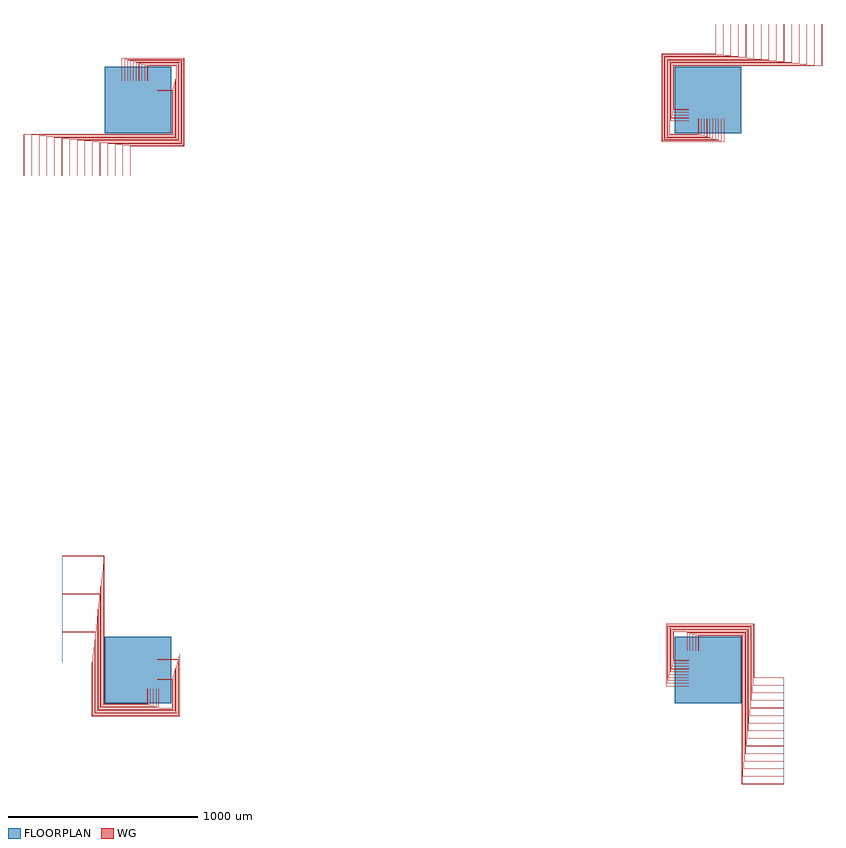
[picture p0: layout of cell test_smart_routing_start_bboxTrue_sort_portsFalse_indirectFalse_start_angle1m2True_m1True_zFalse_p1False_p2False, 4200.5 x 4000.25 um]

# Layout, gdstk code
import gdstk
lib = gdstk.Library(unit=1e-6, precision=1e-09)
def R(c, l, rs):  # rectangles x0, y0, x1, y1
    for r in rs: c.add(gdstk.rectangle(r[:2], r[2:], *l))
def P(c, l, *ps):  # polygons
    for p in ps: c.add(gdstk.Polygon(p, *l))
WG = (1, 0)
FLOORPLAN = (10, 0)

test_smart_routing_start = lib.new_cell('test_smart_routing_start_bboxTrue_sort_portsFalse_indirectFalse_start_angle1m2True_m1True_zFalse_p1False_p2False')
P(test_smart_routing_start, WG, [(-179.5,-179.5),(-179.5,599.75),(-400,599.75),(-400,600.25),(-179,600.25),(-179,-179),(49.75,-179),(49.75,-100),(50.25,-100),(50.25,-179.5)],
  [(-184,-184),(-184,559.75),(-400,559.75),(-400,560.25),(-183.5,560.25),(-183.5,-183.5),(64.75,-183.5),(64.75,-100),(65.25,-100),(65.25,-184)],
  [(-188.5,-188.5),(-188.5,519.75),(-400,519.75),(-400,520.25),(-188,520.25),(-188,-188),(79.75,-188),(79.75,-100),(80.25,-100),(80.25,-188.5)],
  [(-193,-193),(-193,479.75),(-400,479.75),(-400,480.25),(-192.5,480.25),(-192.5,-192.5),(94.75,-192.5),(94.75,-100),(95.25,-100),(95.25,-193)],
  [(-197.5,-197.5),(-197.5,439.75),(-400,439.75),(-400,440.25),(-197,440.25),(-197,-197),(109.75,-197),(109.75,-100),(110.25,-100),(110.25,-197.5)],
  [(-202,-202),(-202,399.75),(-400,399.75),(-400,400.25),(-201.5,400.25),(-201.5,-201.5),(179,-201.5),(179,-50.25),(100,-50.25),(100,-49.75),(179.5,-49.75),(179.5,-202)],
  [(-206.5,-206.5),(-206.5,359.75),(-400,359.75),(-400,360.25),(-206,360.25),(-206,-206),(183.5,-206),(183.5,-35.25),(100,-35.25),(100,-34.75),(184,-34.75),(184,-206.5)],
  [(-211,-211),(-211,319.75),(-400,319.75),(-400,320.25),(-210.5,320.25),(-210.5,-210.5),(188,-210.5),(188,-20.25),(100,-20.25),(100,-19.75),(188.5,-19.75),(188.5,-211)],
  [(-215.5,-215.5),(-215.5,279.75),(-400,279.75),(-400,280.25),(-215,280.25),(-215,-215),(192.5,-215),(192.5,-5.25),(100,-5.25),(100,-4.75),(193,-4.75),(193,-215.5)],
  [(-220,-220),(-220,239.75),(-400,239.75),(-400,240.25),(-219.5,240.25),(-219.5,-219.5),(197,-219.5),(197,9.75),(100,9.75),(100,10.25),(197.5,10.25),(197.5,-220)],
  [(-224.5,-224.5),(-224.5,199.75),(-400,199.75),(-400,200.25),(-224,200.25),(-224,-224),(201.5,-224),(201.5,24.75),(100,24.75),(100,25.25),(202,25.25),(202,-224.5)],
  [(-229,-229),(-229,159.75),(-400,159.75),(-400,160.25),(-228.5,160.25),(-228.5,-228.5),(206,-228.5),(206,39.75),(100,39.75),(100,40.25),(206.5,40.25),(206.5,-229)],
  [(-233.5,-233.5),(-233.5,119.75),(-400,119.75),(-400,120.25),(-233,120.25),(-233,-233),(210.5,-233),(210.5,54.75),(100,54.75),(100,55.25),(211,55.25),(211,-233.5)],
  [(-238,-238),(-238,79.75),(-400,79.75),(-400,80.25),(-237.5,80.25),(-237.5,-237.5),(215,-237.5),(215,69.75),(100,69.75),(100,70.25),(215.5,70.25),(215.5,-238)],
  [(-242.5,-242.5),(-242.5,39.75),(-400,39.75),(-400,40.25),(-242,40.25),(-242,-242),(219.5,-242),(219.5,84.75),(100,84.75),(100,85.25),(220,85.25),(220,-242.5)],
  [(-600.25,2600),(-600.25,2821),(179,2821),(179,3049.75),(100,3049.75),(100,3050.25),(179.5,3050.25),(179.5,2820.5),(-599.75,2820.5),(-599.75,2600)],
  [(-560.25,2600),(-560.25,2816.5),(183.5,2816.5),(183.5,3064.75),(100,3064.75),(100,3065.25),(184,3065.25),(184,2816),(-559.75,2816),(-559.75,2600)],
  [(-520.25,2600),(-520.25,2812),(188,2812),(188,3079.75),(100,3079.75),(100,3080.25),(188.5,3080.25),(188.5,2811.5),(-519.75,2811.5),(-519.75,2600)],
  [(-480.25,2600),(-480.25,2807.5),(192.5,2807.5),(192.5,3094.75),(100,3094.75),(100,3095.25),(193,3095.25),(193,2807),(-479.75,2807),(-479.75,2600)],
  [(-440.25,2600),(-440.25,2803),(197,2803),(197,3109.75),(100,3109.75),(100,3110.25),(197.5,3110.25),(197.5,2802.5),(-439.75,2802.5),(-439.75,2600)],
  [(-400.25,2600),(-400.25,2798.5),(201.5,2798.5),(201.5,3179),(50.25,3179),(50.25,3100),(49.75,3100),(49.75,3179.5),(202,3179.5),(202,2798),(-399.75,2798),(-399.75,2600)],
  [(-360.25,2600),(-360.25,2794),(206,2794),(206,3183.5),(35.25,3183.5),(35.25,3100),(34.75,3100),(34.75,3184),(206.5,3184),(206.5,2793.5),(-359.75,2793.5),(-359.75,2600)],
  [(-320.25,2600),(-320.25,2789.5),(210.5,2789.5),(210.5,3188),(20.25,3188),(20.25,3100),(19.75,3100),(19.75,3188.5),(211,3188.5),(211,2789),(-319.75,2789),(-319.75,2600)],
  [(-280.25,2600),(-280.25,2785),(215,2785),(215,3192.5),(5.25,3192.5),(5.25,3100),(4.75,3100),(4.75,3193),(215.5,3193),(215.5,2784.5),(-279.75,2784.5),(-279.75,2600)],
  [(-240.25,2600),(-240.25,2780.5),(219.5,2780.5),(219.5,3197),(-9.75,3197),(-9.75,3100),(-10.25,3100),(-10.25,3197.5),(220,3197.5),(220,2780),(-239.75,2780),(-239.75,2600)],
  [(-200.25,2600),(-200.25,2776),(224,2776),(224,3201.5),(-24.75,3201.5),(-24.75,3100),(-25.25,3100),(-25.25,3202),(224.5,3202),(224.5,2775.5),(-199.75,2775.5),(-199.75,2600)],
  [(-160.25,2600),(-160.25,2771.5),(228.5,2771.5),(228.5,3206),(-39.75,3206),(-39.75,3100),(-40.25,3100),(-40.25,3206.5),(229,3206.5),(229,2771),(-159.75,2771),(-159.75,2600)],
  [(-120.25,2600),(-120.25,2767),(233,2767),(233,3210.5),(-54.75,3210.5),(-54.75,3100),(-55.25,3100),(-55.25,3211),(233.5,3211),(233.5,2766.5),(-119.75,2766.5),(-119.75,2600)],
  [(-80.25,2600),(-80.25,2762.5),(237.5,2762.5),(237.5,3215),(-69.75,3215),(-69.75,3100),(-70.25,3100),(-70.25,3215.5),(238,3215.5),(238,2762),(-79.75,2762),(-79.75,2600)],
  [(-40.25,2600),(-40.25,2758),(242,2758),(242,3219.5),(-84.75,3219.5),(-84.75,3100),(-85.25,3100),(-85.25,3220),(242.5,3220),(242.5,2757.5),(-39.75,2757.5),(-39.75,2600)],
  [(3179,-600.25),(3179,179),(2950.25,179),(2950.25,100),(2949.75,100),(2949.75,179.5),(3179.5,179.5),(3179.5,-599.75),(3400,-599.75),(3400,-600.25)],
  [(3183.5,-560.25),(3183.5,183.5),(2935.25,183.5),(2935.25,100),(2934.75,100),(2934.75,184),(3184,184),(3184,-559.75),(3400,-559.75),(3400,-560.25)],
  [(3188,-520.25),(3188,188),(2920.25,188),(2920.25,100),(2919.75,100),(2919.75,188.5),(3188.5,188.5),(3188.5,-519.75),(3400,-519.75),(3400,-520.25)],
  [(3192.5,-480.25),(3192.5,192.5),(2905.25,192.5),(2905.25,100),(2904.75,100),(2904.75,193),(3193,193),(3193,-479.75),(3400,-479.75),(3400,-480.25)],
  [(3197,-440.25),(3197,197),(2890.25,197),(2890.25,100),(2889.75,100),(2889.75,197.5),(3197.5,197.5),(3197.5,-439.75),(3400,-439.75),(3400,-440.25)],
  [(3201.5,-400.25),(3201.5,201.5),(2821,201.5),(2821,50.25),(2900,50.25),(2900,49.75),(2820.5,49.75),(2820.5,202),(3202,202),(3202,-399.75),(3400,-399.75),(3400,-400.25)],
  [(3206,-360.25),(3206,206),(2816.5,206),(2816.5,35.25),(2900,35.25),(2900,34.75),(2816,34.75),(2816,206.5),(3206.5,206.5),(3206.5,-359.75),(3400,-359.75),(3400,-360.25)],
  [(3210.5,-320.25),(3210.5,210.5),(2812,210.5),(2812,20.25),(2900,20.25),(2900,19.75),(2811.5,19.75),(2811.5,211),(3211,211),(3211,-319.75),(3400,-319.75),(3400,-320.25)],
  [(3215,-280.25),(3215,215),(2807.5,215),(2807.5,5.25),(2900,5.25),(2900,4.75),(2807,4.75),(2807,215.5),(3215.5,215.5),(3215.5,-279.75),(3400,-279.75),(3400,-280.25)],
  [(3219.5,-240.25),(3219.5,219.5),(2803,219.5),(2803,-9.75),(2900,-9.75),(2900,-10.25),(2802.5,-10.25),(2802.5,220),(3220,220),(3220,-239.75),(3400,-239.75),(3400,-240.25)],
  [(3224,-200.25),(3224,224),(2798.5,224),(2798.5,-24.75),(2900,-24.75),(2900,-25.25),(2798,-25.25),(2798,224.5),(3224.5,224.5),(3224.5,-199.75),(3400,-199.75),(3400,-200.25)],
  [(3228.5,-160.25),(3228.5,228.5),(2794,228.5),(2794,-39.75),(2900,-39.75),(2900,-40.25),(2793.5,-40.25),(2793.5,229),(3229,229),(3229,-159.75),(3400,-159.75),(3400,-160.25)],
  [(3233,-120.25),(3233,233),(2789.5,233),(2789.5,-54.75),(2900,-54.75),(2900,-55.25),(2789,-55.25),(2789,233.5),(3233.5,233.5),(3233.5,-119.75),(3400,-119.75),(3400,-120.25)],
  [(3237.5,-80.25),(3237.5,237.5),(2785,237.5),(2785,-69.75),(2900,-69.75),(2900,-70.25),(2784.5,-70.25),(2784.5,238),(3238,238),(3238,-79.75),(3400,-79.75),(3400,-80.25)],
  [(2780,-85.25),(2780,242.5),(3242.5,242.5),(3242.5,-39.75),(3400,-39.75),(3400,-40.25),(3242,-40.25),(3242,242),(2780.5,242),(2780.5,-84.75),(2900,-84.75),(2900,-85.25)],
  [(2820.5,2949.75),(2820.5,3179.5),(3599.75,3179.5),(3599.75,3400),(3600.25,3400),(3600.25,3179),(2821,3179),(2821,2950.25),(2900,2950.25),(2900,2949.75)],
  [(2816,2934.75),(2816,3184),(3559.75,3184),(3559.75,3400),(3560.25,3400),(3560.25,3183.5),(2816.5,3183.5),(2816.5,2935.25),(2900,2935.25),(2900,2934.75)],
  [(2811.5,2919.75),(2811.5,3188.5),(3519.75,3188.5),(3519.75,3400),(3520.25,3400),(3520.25,3188),(2812,3188),(2812,2920.25),(2900,2920.25),(2900,2919.75)],
  [(2807,2904.75),(2807,3193),(3479.75,3193),(3479.75,3400),(3480.25,3400),(3480.25,3192.5),(2807.5,3192.5),(2807.5,2905.25),(2900,2905.25),(2900,2904.75)],
  [(2802.5,2889.75),(2802.5,3197.5),(3439.75,3197.5),(3439.75,3400),(3440.25,3400),(3440.25,3197),(2803,3197),(2803,2890.25),(2900,2890.25),(2900,2889.75)],
  [(2798,2820.5),(2798,3202),(3399.75,3202),(3399.75,3400),(3400.25,3400),(3400.25,3201.5),(2798.5,3201.5),(2798.5,2821),(2949.75,2821),(2949.75,2900),(2950.25,2900),(2950.25,2820.5)],
  [(2793.5,2816),(2793.5,3206.5),(3359.75,3206.5),(3359.75,3400),(3360.25,3400),(3360.25,3206),(2794,3206),(2794,2816.5),(2964.75,2816.5),(2964.75,2900),(2965.25,2900),(2965.25,2816)],
  [(2789,2811.5),(2789,3211),(3319.75,3211),(3319.75,3400),(3320.25,3400),(3320.25,3210.5),(2789.5,3210.5),(2789.5,2812),(2979.75,2812),(2979.75,2900),(2980.25,2900),(2980.25,2811.5)],
  [(2784.5,2807),(2784.5,3215.5),(3279.75,3215.5),(3279.75,3400),(3280.25,3400),(3280.25,3215),(2785,3215),(2785,2807.5),(2994.75,2807.5),(2994.75,2900),(2995.25,2900),(2995.25,2807)],
  [(2780,2802.5),(2780,3220),(3239.75,3220),(3239.75,3400),(3240.25,3400),(3240.25,3219.5),(2780.5,3219.5),(2780.5,2803),(3009.75,2803),(3009.75,2900),(3010.25,2900),(3010.25,2802.5)],
  [(2775.5,2798),(2775.5,3224.5),(3199.75,3224.5),(3199.75,3400),(3200.25,3400),(3200.25,3224),(2776,3224),(2776,2798.5),(3024.75,2798.5),(3024.75,2900),(3025.25,2900),(3025.25,2798)],
  [(2771,2793.5),(2771,3229),(3159.75,3229),(3159.75,3400),(3160.25,3400),(3160.25,3228.5),(2771.5,3228.5),(2771.5,2794),(3039.75,2794),(3039.75,2900),(3040.25,2900),(3040.25,2793.5)],
  [(2766.5,2789),(2766.5,3233.5),(3119.75,3233.5),(3119.75,3400),(3120.25,3400),(3120.25,3233),(2767,3233),(2767,2789.5),(3054.75,2789.5),(3054.75,2900),(3055.25,2900),(3055.25,2789)],
  [(2762,2784.5),(2762,3238),(3079.75,3238),(3079.75,3400),(3080.25,3400),(3080.25,3237.5),(2762.5,3237.5),(2762.5,2785),(3069.75,2785),(3069.75,2900),(3070.25,2900),(3070.25,2784.5)],
  [(2757.5,2780),(2757.5,3242.5),(3039.75,3242.5),(3039.75,3400),(3040.25,3400),(3040.25,3242),(2758,3242),(2758,2780.5),(3084.75,2780.5),(3084.75,2900),(3085.25,2900),(3085.25,2780)])
R(test_smart_routing_start, FLOORPLAN, [(-175,-175,175,175), (2825,-175,3175,175), (-175,2825,175,3175), (2825,2825,3175,3175)])
P(test_smart_routing_start, FLOORPLAN, [(-400,40),(-400,600),(-400,600),(-400,40)],
  [(-600,2600),(-600,2600),(-40,2600),(-40,2600)],
  [(3400,-600),(3400,-40),(3400,-40),(3400,-600)],
  [(3040,3400),(3040,3400),(3600,3400),(3600,3400)])

lib.write_gds('test_smart_routing_start_bboxTrue_sort_portsFalse_indirectFalse_start_angle1m2True_m1True_zFalse_p1False_p2False.gds')
